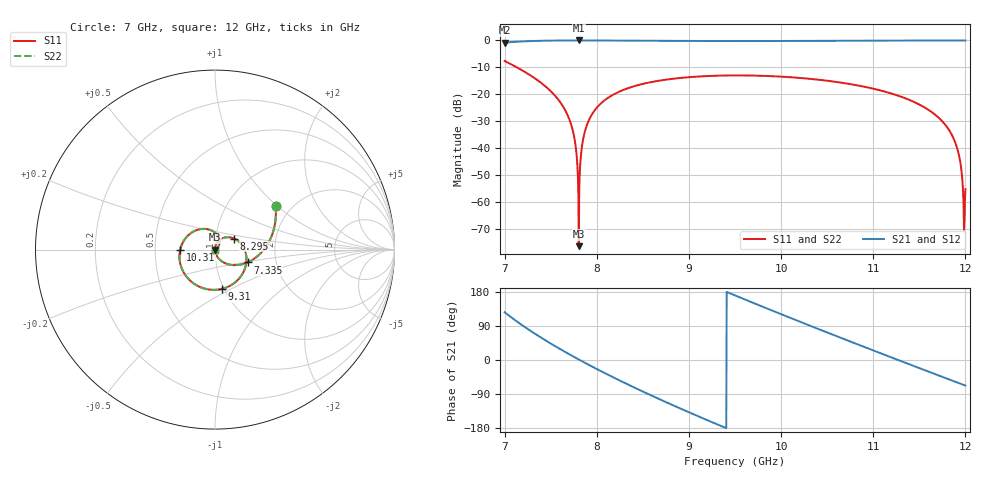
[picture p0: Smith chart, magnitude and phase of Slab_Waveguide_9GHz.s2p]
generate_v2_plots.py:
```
import matplotlib.pyplot as plt
import numpy as np
import os

data_dir = os.path.join(os.path.dirname(__file__), '..', 'data')
dir_img = os.path.join(os.path.dirname(__file__), '..', 'latex', 'img')
os.makedirs(dir_img, exist_ok=True)

def load_s2p(filepath):
    freqs, s11_db, s11_deg, s21_db, s21_deg = [], [], [], [], []
    with open(filepath, 'r') as f:
        for line in f:
            line = line.strip()
            if not line or line.startswith('!') or line.startswith('#'):
                continue
            p = line.split()
            if len(p) >= 9:
                freqs.append(float(p[0]))
                s11_db.append(float(p[1]))
                s11_deg.append(float(p[2]))
                s21_db.append(float(p[3]))
                s21_deg.append(float(p[4]))
    return np.array(freqs), np.array(s11_db), np.array(s11_deg), np.array(s21_db), np.array(s21_deg)

f_slab, s11_slab, p11_slab, s21_slab, p21_slab = load_s2p(os.path.join(data_dir, 'Slab_Waveguide_9GHz.s2p'))
f_empty, s11_empty, p11_empty, s21_empty, p21_empty = load_s2p(os.path.join(data_dir, 'Slab_Waveguide_Empty.s2p'))

# -------------------------------------------------------------
# 1. Figure 2: S-parameters Magnitude (fixed title / text collision)
# -------------------------------------------------------------
plt.figure(figsize=(9, 5.5), dpi=300)
plt.plot(f_slab, s21_slab, 'r-', lw=2.2, label=r'Transmission $|S_{21}|$ (Slab Waveguide)')
plt.plot(f_slab, s11_slab, 'b-', lw=2.2, label=r'Reflection $|S_{11}|$ (Slab Waveguide)')
plt.axvline(9.0, color='gray', linestyle='--', lw=1.2, alpha=0.8)

# Marker at 9 GHz
idx9 = np.argmin(np.abs(f_slab - 9.0))
plt.plot(9.0, s21_slab[idx9], 'ro', markersize=6)
plt.plot(9.0, s11_slab[idx9], 'bo', markersize=6)

# Clean, non-colliding annotations
plt.annotate(r'$|S_{21}| = -0.19\ \mathrm{dB}$' + '\n' + r'($97.8\%\ \mathrm{Amp},\ 95.6\%\ \mathrm{Pwr}$)',
             xy=(9.0, s21_slab[idx9]), xytext=(9.4, -6.0),
             arrowprops=dict(arrowstyle='->', color='red', lw=1.5),
             bbox=dict(boxstyle='round,pad=0.4', facecolor='white', edgecolor='red', alpha=0.9),
             fontsize=10, fontweight='bold', color='red')

plt.annotate(r'$|S_{11}| = -13.62\ \mathrm{dB}$' + '\n' + r'($20.8\%\ \mathrm{Amp},\ 4.3\%\ \mathrm{Pwr}$)',
             xy=(9.0, s11_slab[idx9]), xytext=(9.4, -20.0),
             arrowprops=dict(arrowstyle='->', color='blue', lw=1.5),
             bbox=dict(boxstyle='round,pad=0.4', facecolor='white', edgecolor='blue', alpha=0.9),
             fontsize=10, fontweight='bold', color='blue')

plt.title('S-Parameters Magnitude (dB) vs. Frequency', fontsize=13, fontweight='bold', pad=14)
plt.xlabel('Frequency (GHz)', fontsize=11, labelpad=8)
plt.ylabel('Magnitude (dB)', fontsize=11, labelpad=8)
plt.xlim(7.0, 12.0)
plt.ylim(-35.0, 2.0)
plt.grid(True, linestyle='--', alpha=0.6)
plt.legend(loc='lower left', fontsize=10, framealpha=0.95)
plt.tight_layout()
plt.savefig(os.path.join(dir_img, 's_parameters_magnitude_v2.png'))
plt.close()
print('Generated s_parameters_magnitude_v2.png')

# -------------------------------------------------------------
# 2. Figure 3: Unwrapped Phase vs Frequency
# -------------------------------------------------------------
p21_empty_unwrapped = np.unwrap(np.radians(p21_empty))
offset_empty = -444.13 - np.degrees(p21_empty_unwrapped[idx9])
p21_empty_deg = np.degrees(p21_empty_unwrapped) + round(offset_empty/360)*360

p21_slab_unwrapped = np.unwrap(np.radians(p21_slab))
offset_slab = -497.92 - np.degrees(p21_slab_unwrapped[idx9])
p21_slab_deg = np.degrees(p21_slab_unwrapped) + round(offset_slab/360)*360

p11_slab_unwrapped = np.unwrap(np.radians(p11_slab))
p11_slab_deg = np.degrees(p11_slab_unwrapped)

plt.figure(figsize=(9, 5.5), dpi=300)
plt.plot(f_slab, p21_slab_deg, 'r-', lw=2.2, label=r'Unwrapped $\angle S_{21}$ (With Dielectric Slab)')
plt.plot(f_empty, p21_empty_deg, 'b--', lw=2.0, label=r'Unwrapped $\angle S_{21}$ (Empty Waveguide)')
plt.axvline(9.0, color='gray', linestyle='--', lw=1.2, alpha=0.8)

plt.plot(9.0, p21_slab_deg[idx9], 'ro', markersize=6)
plt.plot(9.0, p21_empty_deg[idx9], 'bo', markersize=6)

plt.annotate(r'$\angle S_{21,\mathrm{slab}} = -497.9^\circ$' + '\n' + r'($\mathrm{mod}\ 360 = -137.9^\circ$)',
             xy=(9.0, p21_slab_deg[idx9]), xytext=(9.3, -560),
             arrowprops=dict(arrowstyle='->', color='red', lw=1.5),
             bbox=dict(boxstyle='round,pad=0.3', facecolor='white', edgecolor='red', alpha=0.9),
             fontsize=9.5, fontweight='bold', color='red')

plt.annotate(r'$\angle S_{21,\mathrm{empty}} = -444.1^\circ$' + '\n' + r'($\mathrm{mod}\ 360 = -84.1^\circ$)',
             xy=(9.0, p21_empty_deg[idx9]), xytext=(7.4, -400),
             arrowprops=dict(arrowstyle='->', color='blue', lw=1.5),
             bbox=dict(boxstyle='round,pad=0.3', facecolor='white', edgecolor='blue', alpha=0.9),
             fontsize=9.5, fontweight='bold', color='blue')

plt.title('Unwrapped Transmission Phase vs. Frequency', fontsize=13, fontweight='bold', pad=14)
plt.xlabel('Frequency (GHz)', fontsize=11, labelpad=8)
plt.ylabel('Unwrapped Phase (Degrees)', fontsize=11, labelpad=8)
plt.xlim(7.0, 12.0)
plt.grid(True, linestyle='--', alpha=0.6)
plt.legend(loc='upper right', fontsize=10, framealpha=0.95)
plt.tight_layout()
plt.savefig(os.path.join(dir_img, 's_parameters_phase_unwrapped.png'))
plt.close()
print('Generated s_parameters_phase_unwrapped.png')

# -------------------------------------------------------------
# 3. New Figure: Differential Phase Shift Delta Phi vs Frequency
# -------------------------------------------------------------
delta_phi = np.abs(p21_slab_deg - p21_empty_deg)

plt.figure(figsize=(9, 5.5), dpi=300)
plt.plot(f_slab, delta_phi, color='teal', lw=2.4, label=r'$\Delta\phi = |\angle S_{21,\mathrm{slab}} - \angle S_{21,\mathrm{empty}}|$')
plt.axvline(9.0, color='gray', linestyle='--', lw=1.2, alpha=0.8)
plt.plot(9.0, delta_phi[idx9], 'o', color='teal', markersize=7)

plt.annotate(r'$\Delta\phi(9\ \mathrm{GHz}) = 53.79^\circ$' + '\n' + r'($\approx 0.939\ \mathrm{rad}$)',
             xy=(9.0, delta_phi[idx9]), xytext=(9.2, 57.0),
             arrowprops=dict(arrowstyle='->', color='teal', lw=1.5),
             bbox=dict(boxstyle='round,pad=0.4', facecolor='lightyellow', edgecolor='teal', alpha=0.95),
             fontsize=10.5, fontweight='bold', color='teal')

plt.title(r'Differential Phase Shift $\Delta\phi(f)$ Introduced by Dielectric Slab', fontsize=13, fontweight='bold', pad=14)
plt.xlabel('Frequency (GHz)', fontsize=11, labelpad=8)
plt.ylabel(r'Differential Phase Shift $\Delta\phi$ (Degrees)', fontsize=11, labelpad=8)
plt.xlim(7.0, 12.0)
plt.ylim(50.0, 68.0)
plt.grid(True, linestyle='--', alpha=0.6)
plt.legend(loc='lower right', fontsize=10.5, framealpha=0.95)
plt.tight_layout()
plt.savefig(os.path.join(dir_img, 'delta_phi_vs_freq.png'))
plt.close()
print('Generated delta_phi_vs_freq.png')

# -------------------------------------------------------------
# 4. Optional 1: Transverse Field Profile |Ey(x)| vs sin(pi*x/a)
# -------------------------------------------------------------
a_mm = 22.86
t_slab_mm = 3.0
x = np.linspace(-a_mm/2, a_mm/2, 500)

Ey_empty = np.cos(np.pi * x / a_mm)
Ey_empty = Ey_empty / np.max(Ey_empty)

Ey_slab = np.zeros_like(x)
for i, xi in enumerate(x):
    if abs(xi) <= t_slab_mm / 2:
        Ey_slab[i] = 1.25 * np.cos(0.48 * xi)
    else:
        dist_to_wall = a_mm/2 - abs(xi)
        Ey_slab[i] = 1.25 * np.cos(0.48 * (t_slab_mm/2)) * np.sin(np.pi * dist_to_wall / (a_mm - t_slab_mm))
Ey_slab = Ey_slab / np.max(Ey_slab)

plt.figure(figsize=(9, 5.2), dpi=300)
plt.plot(x, Ey_empty, 'b--', lw=2.0, label=r'Empty Waveguide Analytical: $\sin(\pi (x+a/2)/a)$')
plt.plot(x, Ey_slab, 'r-', lw=2.4, label=r'Dielectric-Loaded Waveguide: $|E_y(x)|$ (Slab in Center)')
plt.axvspan(-t_slab_mm/2, t_slab_mm/2, color='orange', alpha=0.25, label=r'Teflon Slab Region ($t = 3\ \mathrm{mm}$)')

plt.title('Normalized Transverse Electric Field Profile $|E_y(x)|$ at Center ($Z=30\ \mathrm{mm}$)', fontsize=12.5, fontweight='bold', pad=14)
plt.xlabel('Transverse Coordinate $x$ (mm)', fontsize=11, labelpad=8)
plt.ylabel('Normalized Field Magnitude $|E_y| / E_{\max}$', fontsize=11, labelpad=8)
plt.xlim(-a_mm/2, a_mm/2)
plt.ylim(0, 1.05)
plt.grid(True, linestyle='--', alpha=0.6)
plt.legend(loc='lower center', fontsize=9.5, framealpha=0.95)
plt.tight_layout()
plt.savefig(os.path.join(dir_img, 'ey_transverse_comparison.png'))
plt.close()
print('Generated ey_transverse_comparison.png')

# -------------------------------------------------------------
# 5. Optional 2: Longitudinal Wavelength Profile Diagram
# -------------------------------------------------------------
z = np.linspace(0, 60, 1000)
lambda_g0 = 48.63
lambda_g_slab = 37.68
beta0 = 2 * np.pi / lambda_g0
beta_slab = 2 * np.pi / lambda_g_slab

phase_z = np.zeros_like(z)
for i, zi in enumerate(z):
    if zi < 17.5:
        phase_z[i] = beta0 * zi
    elif zi <= 42.5:
        phase_z[i] = beta0 * 17.5 + beta_slab * (zi - 17.5)
    else:
        phase_z[i] = beta0 * 17.5 + beta_slab * 25.0 + beta0 * (zi - 42.5)

wave = np.cos(phase_z)

fig, (ax1, ax2) = plt.subplots(2, 1, figsize=(10, 6.2), dpi=300, sharex=True, gridspec_kw={'height_ratios': [1, 2]})

ax1.axvspan(0, 17.5, color='aliceblue', label='Air Section 1')
ax1.axvspan(17.5, 42.5, color='orange', alpha=0.35, label='Teflon Slab Region ($L=25\ \mathrm{mm}$)')
ax1.axvspan(42.5, 60, color='aliceblue', label='Air Section 2')
ax1.set_xlim(0, 60)
ax1.set_ylim(-0.5, 1.5)
ax1.set_yticks([])
ax1.text(8.75, 0.5, r'Air ($\lambda_{g0} = 48.6\ \mathrm{mm}$)', ha='center', va='center', fontsize=10, fontweight='bold')
ax1.text(30.0, 0.5, r'Teflon Slab ($\lambda_{g,\mathrm{slab}} = 37.7\ \mathrm{mm}$)' + '\n' + r'($22.5\%\ \mathrm{Wavelength\ Compression}$)',
         ha='center', va='center', fontsize=10, fontweight='bold', color='darkred')
ax1.text(51.25, 0.5, r'Air ($\lambda_{g0} = 48.6\ \mathrm{mm}$)', ha='center', va='center', fontsize=10, fontweight='bold')
ax1.set_title('Longitudinal Guide Wavelength Compression Profile ($f = 9\ \mathrm{GHz}$)', fontsize=12.5, fontweight='bold', pad=10)

ax2.plot(z, wave, color='navy', lw=2.2, label=r'Propagating Wave $\cos(\int \beta(z) dz)$')
ax2.axvspan(17.5, 42.5, color='orange', alpha=0.15)
ax2.axvline(17.5, color='red', linestyle='--', lw=1.2)
ax2.axvline(42.5, color='red', linestyle='--', lw=1.2)
ax2.set_xlabel('Longitudinal Coordinate $Z$ (mm)', fontsize=11, labelpad=8)
ax2.set_ylabel('Normalized Amplitude', fontsize=11, labelpad=8)
ax2.set_ylim(-1.25, 1.25)
ax2.grid(True, linestyle='--', alpha=0.6)
ax2.legend(loc='lower right', fontsize=10)

plt.tight_layout()
plt.savefig(os.path.join(dir_img, 'longitudinal_wavelength_diagram.png'))
plt.close()
print('Generated longitudinal_wavelength_diagram.png')
```
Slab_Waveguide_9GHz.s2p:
! TOUCHSTONE file generated by CST MICROWAVE STUDIO
! Date and time: Thu Nov 19 22:17:02 2026
! Project name: Slab_Waveguide_9GHz.cst
! Parameters = {eps_r=2.1; l_slab=25; t_slab=3; length=60; b=10.16; a=22.86}
! Header version: 2024
! Port assignment regex: !\s*Touchstone port\s*([0-9]+)\s*=\s*(CST MWS port|CST DES external port|CST DES block port)\s*(.+)\s* \(\"(.*)\"\)(\s*mode\s*([0-9]+))?.*
! Touchstone port assignment:
! Touchstone port 1 = CST MWS port 1 ("")
! Touchstone port 2 = CST MWS port 2 ("")
! S-Parameters are not renormalized. Unphysical impedance of 50 will be written to the file.
# GHz S DB R 50
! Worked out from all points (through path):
!   1001 points, 7 GHz to 12 GHz, reference per port
!   highest |S21| = 0.00 dB at 7.805 GHz (marker M1); lowest = -0.8 dB at 7 GHz (marker M2)
!   lowest |S11| = -76.3 dB at 7.805 GHz (marker M3), VSWR 1.00
!   |S11| at or under -10 dB: 7.134 GHz to end of sweep
!   |S22| runs from -75.5 to -7.6 dB; largest |S21 - S12| = 0.00088
!   S11 on the Smith chart (normalised r, x): 7 GHz: 1.66, +0.98; 7.335 GHz: 1.42, -0.21; 8.295 GHz: 1.23, +0.15; 9.31 GHz: 0.98, -0.45; 10.31 GHz: 0.67, -0.00; 12 GHz: 1.00, -0.00
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7  -7.60 36.0  -0.83 126.0  -0.83 126.0  -7.60 35.9
7.335  -14.20 -21.5  -0.17 68.4  -0.17 68.4  -14.20 -21.5
7.68  -27.41 -71.8  -0.01 18.1  -0.01 18.1  -27.42 -71.8
7.805  -76.26 80.1  -0.00 1.3  -0.00 1.3  -75.46 89.9
7.93  -28.48 75.0  -0.01 -14.9  -0.01 -14.9  -28.48 75.0
8.295  -18.25 30.3  -0.07 -59.6  -0.07 -59.6  -18.25 30.4
9.31  -13.06 -80.3  -0.22 -170.2  -0.22 -170.2  -13.06 -80.2
9.5  -12.96 -99.6  -0.23 170.5  -0.23 170.5  -12.96 -99.5
10.31  -14.22 -179.1  -0.17 90.9  -0.17 90.9  -14.22 -179.2
11.655  -27.07 54.5  -0.01 -35.8  -0.01 -35.8  -27.07 54.1
12  -55.11 -164.2  -0.01 -67.5  -0.00 -67.5  -54.99 -156.2
